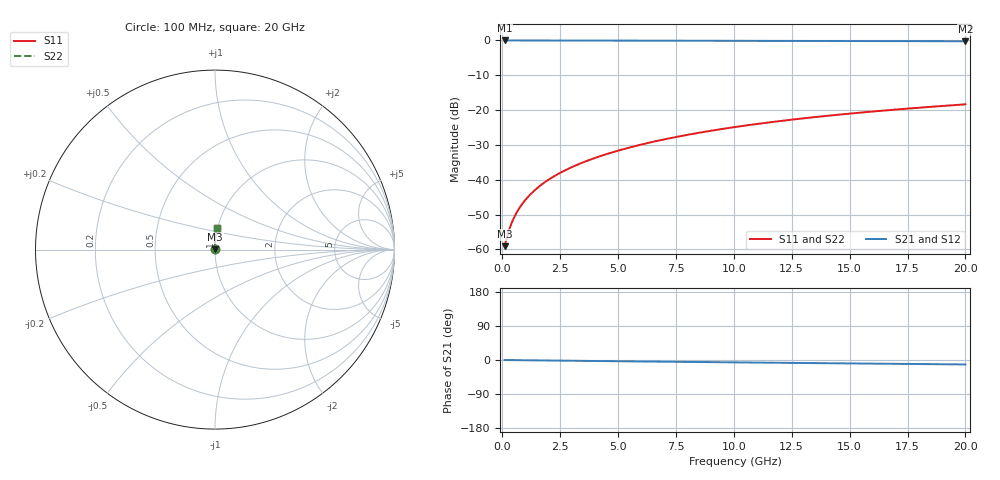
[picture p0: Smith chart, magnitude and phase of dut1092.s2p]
! Touchstone file exported from HFSS 2024.1.0
!  File:  C:/UserFiles/LocalFiles/RDL_TSV_Batchsim/temp_RDL_top_1092_1780046000.aedt
!  Generated:  05:14:59 PM May 29, 2026
!  Design:  RDL_top
!  Project:  temp_RDL_top_1092_1780046000
!  Setup:  Setup1
!  Solution:  Sweep
! Variables:
!  dtsv = 10.80580581um
!  hbump = 3um
!  htsv = 57.2um
!  ldown = 100um
!  lrdl = 150.52um
!  p = 40
!  p1 = 44.48um
!  rhole = 1um
!  t = 450um
!  tdown = 3.915915916um
!  trdl = 3.17um
!  wdown = 15.38538539um
!  wrdl = 24.32um
# GHz S MA R 50.000000
! Terminal data exported
! Port[1] = Box2_T1
! Port[2] = Box2_T2
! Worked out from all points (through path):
!   200 points, 100 MHz to 20 GHz, reference 50 ohm
!   highest |S21| = -0.01 dB at 100 MHz (marker M1); lowest = -0.2 dB at 20 GHz (marker M2)
!   group delay of S21, straight-line fit = 1.61 ps
!   lowest |S11| = -59.1 dB at 100 MHz (marker M3), VSWR 1.00, Z = 50.1 + j0.0564 ohm
!   |S11| at or under -10 dB: start of sweep to end of sweep
!   |S22| runs from -59.1 to -18.4 dB; largest |S21 - S12| = 3.2e-15
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0.1  0.001111 30.5  0.999 -0.1  0.999 -0.1  0.001111 30.5
! Gamma 0 0 0 0
! Port Impedance 50 0 50 0
0.2  0.001489 47.9  0.999 -0.1  0.999 -0.1  0.001489 47.9
0.3  0.001926 57.2  0.9989 -0.2  0.9989 -0.2  0.001926 57.2
0.4  0.002375 62.9  0.9989 -0.3  0.9989 -0.3  0.002375 63.0
0.5  0.002827 67.0  0.9988 -0.4  0.9988 -0.4  0.002827 67.0
0.6  0.003281 70.1  0.9988 -0.4  0.9988 -0.4  0.003281 70.1
0.8  0.004203 74.5  0.9987 -0.6  0.9987 -0.6  0.004203 74.5
1  0.005141 77.6  0.9986 -0.7  0.9986 -0.7  0.005141 77.6
1.2  0.006093 79.8  0.9985 -0.8  0.9985 -0.8  0.006093 79.8
1.4  0.007058 81.6  0.9983 -1.0  0.9983 -1.0  0.007058 81.6
1.7  0.008526 83.6  0.9981 -1.2  0.9981 -1.2  0.008526 83.6
2.2  0.01102 85.9  0.9977 -1.5  0.9977 -1.5  0.01102 85.9
2.8  0.0141 87.8  0.9971 -1.9  0.9971 -1.9  0.0141 87.8
3.5  0.0178 89.3  0.9963 -2.3  0.9963 -2.3  0.0178 89.3
4.2  0.02162 90.3  0.9954 -2.8  0.9954 -2.8  0.02162 90.3
5  0.02613 91.0  0.9942 -3.3  0.9942 -3.3  0.02613 91.0
6.8  0.03677 91.6  0.9914 -4.4  0.9914 -4.4  0.03677 91.6
8.4  0.04665 91.3  0.9888 -5.3  0.9888 -5.3  0.04665 91.3
10.1  0.05741 90.6  0.9862 -6.3  0.9862 -6.3  0.05741 90.6
13.4  0.07863 88.5  0.9815 -8.1  0.9815 -8.1  0.07863 88.5
16.7  0.09986 86.2  0.9771 -9.9  0.9771 -9.9  0.09986 86.2
20  0.1209 83.8  0.973 -11.7  0.973 -11.7  0.1209 83.8
